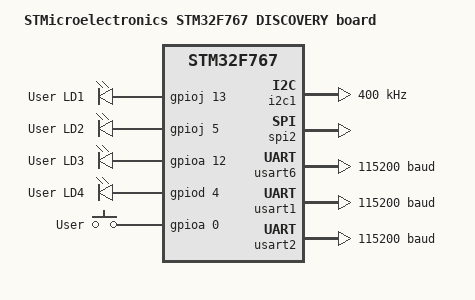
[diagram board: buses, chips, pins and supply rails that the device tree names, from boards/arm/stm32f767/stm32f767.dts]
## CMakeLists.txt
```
cmake_minimum_required(VERSION 3.13.1)

set(DTC_OVERLAY_FILE "${CMAKE_CURRENT_SOURCE_DIR}/dts/stm32f7.overlay.dts")

include_directories(include)

include($ENV{ZEPHYR_BASE}/cmake/app/boilerplate.cmake NO_POLICY_SCOPE)
project(base)

include(cmake/common.cmake)

if(CONFIG_CUSTOM_CONFIG)
	set(ZEPHYR_RUNNER_CONFIG_BOARD_DIR "${CMAKE_CURRENT_SOURCE_DIR}/board" CACHE STRING "Board definition directory" FORCE)
endif()

# set(CMAKE_C_FLAGS "${CMAKE_C_FLAGS} -DUSE_FULL_LL_DRIVER")
# add_definitions(-DUSE_FULL_LL_DRIVER)

include_directories(common/inc)

add_sources(
	common/src/helper.c
	common/src/init_log.c
	src/main.c
	src/led.c
	src/i2c_24c02.c
	src/oled.c
	src/bullseye.c
	# /home/maxu/programs/BullseyeCoverage/run/libcov-printf.c
	# src/test_section.c
	# src/test_uart.c
	# tests/kernel/mem_protect/userspace/*.c
	# src/encoder_run.c
	# src/test_esp32_uart.c
	# drivers/wifi/esp32_core.c
	# src/test_esp32_spi.c
	# src/test_pwm.c
	# src/device_list.c
	# src/test_spi.c
	# src/test_base.c
	# src/test_thread.c
	# src/test_thread_wrap.c
	# src/test_asm.c
)

add_glob_sources_if(CONFIG_TEST_BME280 tests/drivers/bme280/*.c)

add_glob_sources_if(
	CONFIG_TEST_GPIO
	tests/drivers/gpio/*.c
)

zephyr_linker_sources(SECTIONS link/custom-sections.ld)
```

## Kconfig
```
source "Kconfig.zephyr"

menu "Zephyr Practice"

config CUSTOM_CONFIG
	bool "use custom board config"
	default n

config SMALL_CAR
	bool "car config"
	select USE_STM32_LL_UTILS
	select USE_STM32_LL_GPIO
	select USE_STM32_LL_TIM
	select USE_STM32_LL_USART

if SMALL_CAR

config SMALL_CAR_ENCODER_NAME
	string "small car encoder name"
	default "small_car_encoder"

config SMALL_CAR_ENCODER_PSC
	int "small car encoder psc"
	default 0

config SMALL_CAR_ENCODER_ARR
	int "small car encoder arr"
	default 10799

endif # SMALL_CAR

config TEST_SPI_PI
	bool "spi slave device connect to raspi"
	default n
	
config TEST_BME280
	bool "spi slave device connect to raspi"
	default n
	
config TEST_GPIO
	bool "test gpio"
	default n

endmenu

config LOG_STRDUP_BUF_COUNT
	default 128
	
```

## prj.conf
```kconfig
# CONFIG_CORTEX_M_SYSTICK=y

CONFIG_UART_1=n
CONFIG_UART_2=y

# Shell
CONFIG_SHELL=y

# Log
CONFIG_LOG=y

# I2C 24C02
CONFIG_I2C=y
CONFIG_I2C_1=y
CONFIG_I2C_2=y
CONFIG_I2C_LOG_LEVEL_DBG=y



# CONFIG_LOG_PRINTK=y

# CONFIG_ZTEST=y


# # Uart
# CONFIG_UART_1=n
# CONFIG_UART_2=y
# CONFIG_UART_3=n
# CONFIG_UART_6=y

# # SPI
# CONFIG_SPI=y
# CONFIG_SPI_2=y
# CONFIG_SPI_LOG_LEVEL_DBG=y

# # I2C
# CONFIG_I2C=y
# CONFIG_I2C_1=y

# CONFIG_SENSOR=y
# CONFIG_BME280=y
# # CONFIG_SENSOR_LOG_LEVEL=4


# # System reset
# CONFIG_REBOOT=y


# # Debug
# CONFIG_DEBUG=y
# CONFIG_DEBUG_INFO=y
# CONFIG_OPENOCD_SUPPORT=y


# # Stm32 Library
# # CONFIG_HAS_STM32CUBE=y
# CONFIG_USE_STM32_LL_TIM=y


# # Monitor
# CONFIG_THREAD_NAME=y
# CONFIG_THREAD_MONITOR=y
# CONFIG_KERNEL_SHELL=y
# CONFIG_DEVICE_SHELL=y
# CONFIG_INIT_STACKS=y
# CONFIG_THREAD_STACK_INFO=y


# # Application Config
# CONFIG_APPLICATION_DEFINED_SYSCALL=y
# CONFIG_DYNAMIC_INTERRUPTS=y


# CONFIG_CUSTOM_CONFIG=n


# # Userspace
# # CONFIG_ARM_MPU=y
# # CONFIG_USERSPACE=y


# # Test Userspace
# # CONFIG_ZTEST=y
# # CONFIG_INIT_STACKS=y
# # CONFIG_APPLICATION_DEFINED_SYSCALL=y
# # CONFIG_THREAD_USERSPACE_LOCAL_DATA=y
# # CONFIG_TEST_USERSPACE=y


# # For PM test
# # CONFIG_SYS_POWER_MANAGEMENT=n
# # CONFIG_SYS_POWER_LOW_POWER_STATE=y
# # CONFIG_SYS_POWER_DEEP_SLEEP=y
# # CONFIG_DEVICE_POWER_MANAGEMENT=y
# # CONFIG_MAIN_STACK_SIZE=4096
# # CONFIG_IDLE_STACK_SIZE=1024


# # car config
# # CONFIG_SMALL_CAR=n


# # config esp32 wifi with uart_1
# # CONFIG_WIFI_ESP32=y
# # CONFIG_WIFI_ESP32_UART_DEVICE="UART_1"


# # CONFIG_MODEM=y
# # CONFIG_MODEM_RECEIVER=y
# # CONFIG_NETWORKING=y
# # CONFIG_NET_OFFLOAD=y
# # CONFIG_NET_SOCKETS=y
# # CONFIG_NET_LOG=y
# # CONFIG_NET_OFFLOAD_LOG_LEVEL_DBG=y
# # CONFIG_NET_SOCKETS_POSIX_NAMES=y
# # CONFIG_WIFI=y
# # CONFIG_WIFI_OFFLOAD=y
# # CONFIG_NET_IPV4=y
# # CONFIG_NET_IPV6=n
# # CONFIG_NET_IF_MAX_IPV4_COUNT=2

# # CONFIG_MODEM_WNCM14A2A=y

# CONFIG_TEST_SPI_PI=n
# # CONFIG_LOG_STRDUP_BUF_COUNT=128

# CONFIG_TEST_BME280=n
# # CONFIG_ZTEST=y

# CONFIG_TEST_GPIO=y
# CONFIG_USE_STM32_LL_GPIO=y
# CONFIG_ZTEST=y
```

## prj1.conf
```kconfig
CONFIG_TEST_BME280=n
# CONFIG_ZTEST=y

CONFIG_TEST_GPIO=y
# CONFIG_USE_STM32_LL_GPIO=y
# CONFIG_ZTEST=y
```

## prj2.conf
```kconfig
CONFIG_TEST_BME280=n
# CONFIG_ZTEST=y

CONFIG_TEST_GPIO=y
```

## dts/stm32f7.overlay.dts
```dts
/ {
	chosen {
		zephyr,console = &usart2;
		zephyr,shell-uart = &usart2;
		zephyr,sram = &sram0;
		zephyr,flash = &flash0;
	};
};

&usart2 {
	current-speed = <115200>;
	pinctrl-names = "default";
	status = "okay";
};

&usart6 {
	current-speed = <115200>;
	pinctrl-names = "default";
	status = "okay";
};

&i2c1 {
	status = "okay";
};

&i2c2 {
	status = "okay";
};
```

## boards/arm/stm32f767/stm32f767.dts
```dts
/*
 * Copyright (c) 2018 Yong Jin
 *
 * SPDX-License-Identifier: Apache-2.0
 */

/dts-v1/;
#include <st/f7/stm32f769Xi.dtsi>

/ {
	model = "STMicroelectronics STM32F767 DISCOVERY board";
	compatible = "st,stm32f767", "st,stm32f767";

	chosen {
		zephyr,console = &usart2;
		zephyr,shell-uart = &usart2;
		zephyr,sram = &sram0;
		zephyr,flash = &flash0;
		zephyr,flash = &flash0;
		zephyr,dtcm = &dtcm;
	};

	leds {
		compatible = "gpio-leds";
		red_led_1:led_1 {
			gpios = <&gpioj 13 GPIO_INT_ACTIVE_HIGH>;
			label = "User LD1";
		};
		green_led_2:led_2 {
			gpios = <&gpioj 5 GPIO_INT_ACTIVE_HIGH>;
			label = "User LD2";
		};
		green_led_3:led_3 {
			gpios = <&gpioa 12 GPIO_INT_ACTIVE_HIGH>;
			label = "User LD3";
		};
		red_led_4:led_4 {
			gpios = <&gpiod 4 GPIO_INT_ACTIVE_HIGH>;
			label = "User LD4";
		};
	};

	gpio_keys {
		compatible = "gpio-keys";
		user_button: button {
			label = "User";
			gpios = <&gpioa 0 GPIO_INT_ACTIVE_HIGH>;
		};
	};

	aliases {
		led0 = &red_led_1;
		led1 = &green_led_2;
		led2 = &green_led_3;
		led3 = &red_led_4;
		sw0 = &user_button;
	};
};

arduino_i2c: &i2c1 {};
arduino_spi: &spi2 {};
arduino_serial: &usart6 {};

&usart1 {
	current-speed = <115200>;
	pinctrl-names = "default";
	status = "okay";
};

&usart2 {
	current-speed = <115200>;
	pinctrl-names = "default";
	status = "okay";
};

&usart6 {
	current-speed = <115200>;
	pinctrl-names = "default";
	status = "okay";
};

&i2c1 {
	status = "okay";
	clock-frequency = <I2C_BITRATE_FAST>;
};

&spi2 {
	status = "okay";
};
```

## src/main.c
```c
#include <zephyr.h>
#include <device.h>
#include <drivers/sensor.h>

extern void test_section();

extern void test_sensor_bme280(void);
extern void test_spi_bme280(void);

extern void test_gpio(void);

void test() {

#if CONFIG_TEST_GPIO
	test_gpio();
#endif

#if CONFIG_TEST_SPI_PI
	test_spi();
#endif

#if CONFIG_TEST_BME280
	test_spi_bme280();
//	test_i2c_bme280();
	test_sensor_bme280();
#endif

}

#if CONFIG_ZTEST
void test_main(void)
#else
void main(void)
#endif
{
	printk("hello, the world\n");
	test();

	// test_section();
	/* test_userspace(); */
}
```

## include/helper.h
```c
#pragma once

#include <zephyr.h>
#include <logging/log.h>

#define _STR(a) #a
#define STR(a) _STR(a)

#define TestFunc(CallFunc, _gotoFlag) \
	do { \
		int ret = CallFunc; \
		if (ret == 0) { \
			LOG_INF("Executing %s successed\n", STR(CallFunc)); \
		} else { \
			LOG_ERR("Executing %s failed\n", STR(CallFunc)); \
			goto _gotoFlag; \
		} \
	} while (0)

/* the macro to know where the code run. */
#define FUNC_RUN_FLAG() LOG_INF("\n\t\t***************** Run here *****************\n")

/* the macro to be easy to code in test function's start and end */
#define FUNC_TEST() LOG_INF("\n\t\t***************** [%s test] *****************\n", __func__)
#define FUNC_TEST_START() LOG_INF("\n\t\t***************** {%s test start} *****************\n", __func__)
#define FUNC_TEST_END() LOG_INF("\n\t\t***************** {%s test end} *******************\n", __func__)
```

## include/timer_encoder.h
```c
#pragma once

#include <device.h>

#include <stm32f7xx_ll_tim.h>
#include <stm32f7xx_ll_gpio.h>

#define ENCODER_NAME_1	CONFIG_SMALL_CAR_ENCODER_NAME
#define PWM_PSC			CONFIG_SMALL_CAR_ENCODER_PSC
#define PWM_ARR			CONFIG_SMALL_CAR_ENCODER_ARR

#ifdef __cplusplus
extern "C" {
#endif


/* -----------------------define car wheels----------------------- */

enum wheel_type {
	WheelLeftFront = 0,
	WheelLeftBack,
	WheelRightFront,
	WheelRightBack
};

typedef enum wheel_type wheel_t;

/** -----------------------PWM Encoder driver API definition---------------------- */
typedef int (*encoder_start_t)();
typedef int (*encoder_stop_t)();
typedef uint32_t (*encoder_get_counter_t)();
typedef int (*encoder_setPwm_t)(wheel_t wheel, uint16_t pwm_a, uint16_t pwm_b);

struct encoder_api_t {
	encoder_start_t start;
	encoder_stop_t stop;
	encoder_get_counter_t getCounter;
	encoder_setPwm_t setPwm;
};


/* -----------------------define syscalls----------------------- */

__syscall int encoder_start(struct device *dev);

static inline int z_impl_encoder_start(struct device *dev)
{
	const struct encoder_api_t *api = (const struct encoder_api_t *)dev->driver_api;
	return api->start();
}

__syscall int encoder_stop(struct device *dev);

static inline int z_impl_encoder_stop(struct device *dev)
{
	const struct encoder_api_t *api = (const struct encoder_api_t *)dev->driver_api;
	return api->stop();
}

__syscall uint32_t encoder_getCounter(struct device *dev);

static inline uint32_t z_impl_encoder_getCounter(struct device *dev)
{
	const struct encoder_api_t *api = (const struct encoder_api_t *)dev->driver_api;
	return api->getCounter();
}

__syscall int encoder_setPwm(const struct device* dev, wheel_t wheel, uint16_t pwm_a, uint16_t pwm_b);

static inline int z_impl_encoder_setPwm(const struct device* dev, wheel_t wheel, uint16_t pwm_a, uint16_t pwm_b)
{
	const struct encoder_api_t *api = (const struct encoder_api_t *)dev->driver_api;
	return api->setPwm(wheel, pwm_a, pwm_b);
}

#ifdef __cplusplus
}
#endif

#include <syscalls/timer_encoder.h>
```

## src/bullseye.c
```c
#include <stdint.h>

__attribute__((__section__(".bcovbss"))) uint8_t bcovbss[3072];
__attribute__((__section__(".bcovcon"))) static uint8_t bcovcon[1024];
```

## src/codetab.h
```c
/***************************16*16的点阵字体取模方式：共阴——列行式——逆向输出*********/
unsigned char F16x16[] =
{
	0x00,0x02,0x02,0xFA,0xFA,0xAA,0xAA,0xFF,0xFF,0xAA,0xAA,0xFA,0xFA,0x02,0x02,0x00,
	0x00,0x42,0x72,0x72,0x3A,0x7A,0x42,0x4B,0x5B,0x52,0x62,0x62,0x13,0x77,0x66,0x00,/*"惠",0*/

	0x20,0x3C,0x1C,0xFF,0xFF,0xB0,0xB4,0x24,0x24,0x3F,0x3F,0xE4,0xE4,0x24,0x24,0x20,
	0x02,0x02,0x03,0xFF,0xFF,0x00,0x01,0x05,0x1D,0x59,0xC1,0xFF,0x7F,0x01,0x01,0x01,/*"特",1*/

	0x00,0x00,0x00,0xF8,0xF8,0x48,0x4C,0x4F,0x4B,0x4A,0x48,0x48,0xF8,0xF8,0x00,0x00,
	0x00,0x00,0x00,0xFF,0xFF,0x44,0x44,0x44,0x44,0x44,0x44,0x44,0xFF,0xFF,0x00,0x00,/*"自",2*/

	0x20,0x24,0x24,0xE4,0xE4,0x24,0x24,0x24,0x30,0x10,0xFF,0xFF,0x10,0xF0,0xF0,0x00,
	0x08,0x1C,0x1F,0x0B,0x0C,0x0D,0x4F,0x6E,0x34,0x1C,0x0F,0x23,0x60,0x7F,0x3F,0x00,/*"动",3*/

	0x80,0xC0,0x60,0xF8,0xFF,0x07,0x02,0x00,0xFF,0xFF,0xE0,0x70,0x3C,0x1C,0x08,0x00,
	0x00,0x00,0x00,0x7F,0x7F,0x04,0x06,0x03,0x3F,0x7F,0x40,0x40,0x40,0x78,0x78,0x00,/*"化",4*/
};

/************************************6*8的点阵************************************/
const unsigned char F6x8[][6] =
{
	0x00, 0x00, 0x00, 0x00, 0x00, 0x00,// sp
	0x00, 0x00, 0x00, 0x2f, 0x00, 0x00,// !
	0x00, 0x00, 0x07, 0x00, 0x07, 0x00,// "
	0x00, 0x14, 0x7f, 0x14, 0x7f, 0x14,// #
	0x00, 0x24, 0x2a, 0x7f, 0x2a, 0x12,// $
	0x00, 0x62, 0x64, 0x08, 0x13, 0x23,// %
	0x00, 0x36, 0x49, 0x55, 0x22, 0x50,// &
	0x00, 0x00, 0x05, 0x03, 0x00, 0x00,// '
	0x00, 0x00, 0x1c, 0x22, 0x41, 0x00,// (
	0x00, 0x00, 0x41, 0x22, 0x1c, 0x00,// )
	0x00, 0x14, 0x08, 0x3E, 0x08, 0x14,// *
	0x00, 0x08, 0x08, 0x3E, 0x08, 0x08,// +
	0x00, 0x00, 0x00, 0xA0, 0x60, 0x00,// ,
	0x00, 0x08, 0x08, 0x08, 0x08, 0x08,// -
	0x00, 0x00, 0x60, 0x60, 0x00, 0x00,// .
	0x00, 0x20, 0x10, 0x08, 0x04, 0x02,// /
	0x00, 0x3E, 0x51, 0x49, 0x45, 0x3E,// 0
	0x00, 0x00, 0x42, 0x7F, 0x40, 0x00,// 1
	0x00, 0x42, 0x61, 0x51, 0x49, 0x46,// 2
	0x00, 0x21, 0x41, 0x45, 0x4B, 0x31,// 3
	0x00, 0x18, 0x14, 0x12, 0x7F, 0x10,// 4
	0x00, 0x27, 0x45, 0x45, 0x45, 0x39,// 5
	0x00, 0x3C, 0x4A, 0x49, 0x49, 0x30,// 6
	0x00, 0x01, 0x71, 0x09, 0x05, 0x03,// 7
	0x00, 0x36, 0x49, 0x49, 0x49, 0x36,// 8
	0x00, 0x06, 0x49, 0x49, 0x29, 0x1E,// 9
	0x00, 0x00, 0x36, 0x36, 0x00, 0x00,// :
	0x00, 0x00, 0x56, 0x36, 0x00, 0x00,// ;
	0x00, 0x08, 0x14, 0x22, 0x41, 0x00,// <
	0x00, 0x14, 0x14, 0x14, 0x14, 0x14,// =
	0x00, 0x00, 0x41, 0x22, 0x14, 0x08,// >
	0x00, 0x02, 0x01, 0x51, 0x09, 0x06,// ?
	0x00, 0x32, 0x49, 0x59, 0x51, 0x3E,// @
	0x00, 0x7C, 0x12, 0x11, 0x12, 0x7C,// A
	0x00, 0x7F, 0x49, 0x49, 0x49, 0x36,// B
	0x00, 0x3E, 0x41, 0x41, 0x41, 0x22,// C
	0x00, 0x7F, 0x41, 0x41, 0x22, 0x1C,// D
	0x00, 0x7F, 0x49, 0x49, 0x49, 0x41,// E
	0x00, 0x7F, 0x09, 0x09, 0x09, 0x01,// F
	0x00, 0x3E, 0x41, 0x49, 0x49, 0x7A,// G
	0x00, 0x7F, 0x08, 0x08, 0x08, 0x7F,// H
	0x00, 0x00, 0x41, 0x7F, 0x41, 0x00,// I
	0x00, 0x20, 0x40, 0x41, 0x3F, 0x01,// J
	0x00, 0x7F, 0x08, 0x14, 0x22, 0x41,// K
	0x00, 0x7F, 0x40, 0x40, 0x40, 0x40,// L
	0x00, 0x7F, 0x02, 0x0C, 0x02, 0x7F,// M
	0x00, 0x7F, 0x04, 0x08, 0x10, 0x7F,// N
	0x00, 0x3E, 0x41, 0x41, 0x41, 0x3E,// O
	0x00, 0x7F, 0x09, 0x09, 0x09, 0x06,// P
	0x00, 0x3E, 0x41, 0x51, 0x21, 0x5E,// Q
	0x00, 0x7F, 0x09, 0x19, 0x29, 0x46,// R
	0x00, 0x46, 0x49, 0x49, 0x49, 0x31,// S
	0x00, 0x01, 0x01, 0x7F, 0x01, 0x01,// T
	0x00, 0x3F, 0x40, 0x40, 0x40, 0x3F,// U
	0x00, 0x1F, 0x20, 0x40, 0x20, 0x1F,// V
	0x00, 0x3F, 0x40, 0x38, 0x40, 0x3F,// W
	0x00, 0x63, 0x14, 0x08, 0x14, 0x63,// X
	0x00, 0x07, 0x08, 0x70, 0x08, 0x07,// Y
	0x00, 0x61, 0x51, 0x49, 0x45, 0x43,// Z
	0x00, 0x00, 0x7F, 0x41, 0x41, 0x00,// [
	0x00, 0x55, 0x2A, 0x55, 0x2A, 0x55,// 55
	0x00, 0x00, 0x41, 0x41, 0x7F, 0x00,// ]
	0x00, 0x04, 0x02, 0x01, 0x02, 0x04,// ^
	0x00, 0x40, 0x40, 0x40, 0x40, 0x40,// _
	0x00, 0x00, 0x01, 0x02, 0x04, 0x00,// '
	0x00, 0x20, 0x54, 0x54, 0x54, 0x78,// a
	0x00, 0x7F, 0x48, 0x44, 0x44, 0x38,// b
	0x00, 0x38, 0x44, 0x44, 0x44, 0x20,// c
	0x00, 0x38, 0x44, 0x44, 0x48, 0x7F,// d
	0x00, 0x38, 0x54, 0x54, 0x54, 0x18,// e
	0x00, 0x08, 0x7E, 0x09, 0x01, 0x02,// f
	0x00, 0x18, 0xA4, 0xA4, 0xA4, 0x7C,// g
	0x00, 0x7F, 0x08, 0x04, 0x04, 0x78,// h
	0x00, 0x00, 0x44, 0x7D, 0x40, 0x00,// i
	0x00, 0x40, 0x80, 0x84, 0x7D, 0x00,// j
	0x00, 0x7F, 0x10, 0x28, 0x44, 0x00,// k
	0x00, 0x00, 0x41, 0x7F, 0x40, 0x00,// l
	0x00, 0x7C, 0x04, 0x18, 0x04, 0x78,// m
	0x00, 0x7C, 0x08, 0x04, 0x04, 0x78,// n
	0x00, 0x38, 0x44, 0x44, 0x44, 0x38,// o
	0x00, 0xFC, 0x24, 0x24, 0x24, 0x18,// p
	0x00, 0x18, 0x24, 0x24, 0x18, 0xFC,// q
	0x00, 0x7C, 0x08, 0x04, 0x04, 0x08,// r
	0x00, 0x48, 0x54, 0x54, 0x54, 0x20,// s
	0x00, 0x04, 0x3F, 0x44, 0x40, 0x20,// t
	0x00, 0x3C, 0x40, 0x40, 0x20, 0x7C,// u
	0x00, 0x1C, 0x20, 0x40, 0x20, 0x1C,// v
	0x00, 0x3C, 0x40, 0x30, 0x40, 0x3C,// w
	0x00, 0x44, 0x28, 0x10, 0x28, 0x44,// x
	0x00, 0x1C, 0xA0, 0xA0, 0xA0, 0x7C,// y
	0x00, 0x44, 0x64, 0x54, 0x4C, 0x44,// z
	0x14, 0x14, 0x14, 0x14, 0x14, 0x14,// horiz lines
};
/****************************************8*16的点阵************************************/
const unsigned char F8X16[]=
{
  0x00,0x00,0x00,0x00,0x00,0x00,0x00,0x00,0x00,0x00,0x00,0x00,0x00,0x00,0x00,0x00,// 0
  0x00,0x00,0x00,0xF8,0x00,0x00,0x00,0x00,0x00,0x00,0x00,0x33,0x30,0x00,0x00,0x00,//! 1
  0x00,0x10,0x0C,0x06,0x10,0x0C,0x06,0x00,0x00,0x00,0x00,0x00,0x00,0x00,0x00,0x00,//" 2
  0x40,0xC0,0x78,0x40,0xC0,0x78,0x40,0x00,0x04,0x3F,0x04,0x04,0x3F,0x04,0x04,0x00,//# 3
  0x00,0x70,0x88,0xFC,0x08,0x30,0x00,0x00,0x00,0x18,0x20,0xFF,0x21,0x1E,0x00,0x00,//$ 4
  0xF0,0x08,0xF0,0x00,0xE0,0x18,0x00,0x00,0x00,0x21,0x1C,0x03,0x1E,0x21,0x1E,0x00,//% 5
  0x00,0xF0,0x08,0x88,0x70,0x00,0x00,0x00,0x1E,0x21,0x23,0x24,0x19,0x27,0x21,0x10,//& 6
  0x10,0x16,0x0E,0x00,0x00,0x00,0x00,0x00,0x00,0x00,0x00,0x00,0x00,0x00,0x00,0x00,//' 7
  0x00,0x00,0x00,0xE0,0x18,0x04,0x02,0x00,0x00,0x00,0x00,0x07,0x18,0x20,0x40,0x00,//( 8
  0x00,0x02,0x04,0x18,0xE0,0x00,0x00,0x00,0x00,0x40,0x20,0x18,0x07,0x00,0x00,0x00,//) 9
  0x40,0x40,0x80,0xF0,0x80,0x40,0x40,0x00,0x02,0x02,0x01,0x0F,0x01,0x02,0x02,0x00,//* 10
  0x00,0x00,0x00,0xF0,0x00,0x00,0x00,0x00,0x01,0x01,0x01,0x1F,0x01,0x01,0x01,0x00,//+ 11
  0x00,0x00,0x00,0x00,0x00,0x00,0x00,0x00,0x80,0xB0,0x70,0x00,0x00,0x00,0x00,0x00,//, 12
  0x00,0x00,0x00,0x00,0x00,0x00,0x00,0x00,0x00,0x01,0x01,0x01,0x01,0x01,0x01,0x01,//- 13
  0x00,0x00,0x00,0x00,0x00,0x00,0x00,0x00,0x00,0x30,0x30,0x00,0x00,0x00,0x00,0x00,//. 14
  0x00,0x00,0x00,0x00,0x80,0x60,0x18,0x04,0x00,0x60,0x18,0x06,0x01,0x00,0x00,0x00,/// 15
  0x00,0xE0,0x10,0x08,0x08,0x10,0xE0,0x00,0x00,0x0F,0x10,0x20,0x20,0x10,0x0F,0x00,//0 16
  0x00,0x10,0x10,0xF8,0x00,0x00,0x00,0x00,0x00,0x20,0x20,0x3F,0x20,0x20,0x00,0x00,//1 17
  0x00,0x70,0x08,0x08,0x08,0x88,0x70,0x00,0x00,0x30,0x28,0x24,0x22,0x21,0x30,0x00,//2 18
  0x00,0x30,0x08,0x88,0x88,0x48,0x30,0x00,0x00,0x18,0x20,0x20,0x20,0x11,0x0E,0x00,//3 19
  0x00,0x00,0xC0,0x20,0x10,0xF8,0x00,0x00,0x00,0x07,0x04,0x24,0x24,0x3F,0x24,0x00,//4 20
  0x00,0xF8,0x08,0x88,0x88,0x08,0x08,0x00,0x00,0x19,0x21,0x20,0x20,0x11,0x0E,0x00,//5 21
  0x00,0xE0,0x10,0x88,0x88,0x18,0x00,0x00,0x00,0x0F,0x11,0x20,0x20,0x11,0x0E,0x00,//6 22
  0x00,0x38,0x08,0x08,0xC8,0x38,0x08,0x00,0x00,0x00,0x00,0x3F,0x00,0x00,0x00,0x00,//7 23
  0x00,0x70,0x88,0x08,0x08,0x88,0x70,0x00,0x00,0x1C,0x22,0x21,0x21,0x22,0x1C,0x00,//8 24
  0x00,0xE0,0x10,0x08,0x08,0x10,0xE0,0x00,0x00,0x00,0x31,0x22,0x22,0x11,0x0F,0x00,//9 25
  0x00,0x00,0x00,0xC0,0xC0,0x00,0x00,0x00,0x00,0x00,0x00,0x30,0x30,0x00,0x00,0x00,//: 26
  0x00,0x00,0x00,0x80,0x00,0x00,0x00,0x00,0x00,0x00,0x80,0x60,0x00,0x00,0x00,0x00,//; 27
  0x00,0x00,0x80,0x40,0x20,0x10,0x08,0x00,0x00,0x01,0x02,0x04,0x08,0x10,0x20,0x00,//< 28
  0x40,0x40,0x40,0x40,0x40,0x40,0x40,0x00,0x04,0x04,0x04,0x04,0x04,0x04,0x04,0x00,//= 29
  0x00,0x08,0x10,0x20,0x40,0x80,0x00,0x00,0x00,0x20,0x10,0x08,0x04,0x02,0x01,0x00,//> 30
  0x00,0x70,0x48,0x08,0x08,0x08,0xF0,0x00,0x00,0x00,0x00,0x30,0x36,0x01,0x00,0x00,//? 31
  0xC0,0x30,0xC8,0x28,0xE8,0x10,0xE0,0x00,0x07,0x18,0x27,0x24,0x23,0x14,0x0B,0x00,//@ 32
  0x00,0x00,0xC0,0x38,0xE0,0x00,0x00,0x00,0x20,0x3C,0x23,0x02,0x02,0x27,0x38,0x20,//A 33
  0x08,0xF8,0x88,0x88,0x88,0x70,0x00,0x00,0x20,0x3F,0x20,0x20,0x20,0x11,0x0E,0x00,//B 34
  0xC0,0x30,0x08,0x08,0x08,0x08,0x38,0x00,0x07,0x18,0x20,0x20,0x20,0x10,0x08,0x00,//C 35
  0x08,0xF8,0x08,0x08,0x08,0x10,0xE0,0x00,0x20,0x3F,0x20,0x20,0x20,0x10,0x0F,0x00,//D 36
  0x08,0xF8,0x88,0x88,0xE8,0x08,0x10,0x00,0x20,0x3F,0x20,0x20,0x23,0x20,0x18,0x00,//E 37
  0x08,0xF8,0x88,0x88,0xE8,0x08,0x10,0x00,0x20,0x3F,0x20,0x00,0x03,0x00,0x00,0x00,//F 38
  0xC0,0x30,0x08,0x08,0x08,0x38,0x00,0x00,0x07,0x18,0x20,0x20,0x22,0x1E,0x02,0x00,//G 39
  0x08,0xF8,0x08,0x00,0x00,0x08,0xF8,0x08,0x20,0x3F,0x21,0x01,0x01,0x21,0x3F,0x20,//H 40
  0x00,0x08,0x08,0xF8,0x08,0x08,0x00,0x00,0x00,0x20,0x20,0x3F,0x20,0x20,0x00,0x00,//I 41
  0x00,0x00,0x08,0x08,0xF8,0x08,0x08,0x00,0xC0,0x80,0x80,0x80,0x7F,0x00,0x00,0x00,//J 42
  0x08,0xF8,0x88,0xC0,0x28,0x18,0x08,0x00,0x20,0x3F,0x20,0x01,0x26,0x38,0x20,0x00,//K 43
  0x08,0xF8,0x08,0x00,0x00,0x00,0x00,0x00,0x20,0x3F,0x20,0x20,0x20,0x20,0x30,0x00,//L 44
  0x08,0xF8,0xF8,0x00,0xF8,0xF8,0x08,0x00,0x20,0x3F,0x00,0x3F,0x00,0x3F,0x20,0x00,//M 45
  0x08,0xF8,0x30,0xC0,0x00,0x08,0xF8,0x08,0x20,0x3F,0x20,0x00,0x07,0x18,0x3F,0x00,//N 46
  0xE0,0x10,0x08,0x08,0x08,0x10,0xE0,0x00,0x0F,0x10,0x20,0x20,0x20,0x10,0x0F,0x00,//O 47
  0x08,0xF8,0x08,0x08,0x08,0x08,0xF0,0x00,0x20,0x3F,0x21,0x01,0x01,0x01,0x00,0x00,//P 48
  0xE0,0x10,0x08,0x08,0x08,0x10,0xE0,0x00,0x0F,0x18,0x24,0x24,0x38,0x50,0x4F,0x00,//Q 49
  0x08,0xF8,0x88,0x88,0x88,0x88,0x70,0x00,0x20,0x3F,0x20,0x00,0x03,0x0C,0x30,0x20,//R 50
  0x00,0x70,0x88,0x08,0x08,0x08,0x38,0x00,0x00,0x38,0x20,0x21,0x21,0x22,0x1C,0x00,//S 51
  0x18,0x08,0x08,0xF8,0x08,0x08,0x18,0x00,0x00,0x00,0x20,0x3F,0x20,0x00,0x00,0x00,//T 52
  0x08,0xF8,0x08,0x00,0x00,0x08,0xF8,0x08,0x00,0x1F,0x20,0x20,0x20,0x20,0x1F,0x00,//U 53
  0x08,0x78,0x88,0x00,0x00,0xC8,0x38,0x08,0x00,0x00,0x07,0x38,0x0E,0x01,0x00,0x00,//V 54
  0xF8,0x08,0x00,0xF8,0x00,0x08,0xF8,0x00,0x03,0x3C,0x07,0x00,0x07,0x3C,0x03,0x00,//W 55
  0x08,0x18,0x68,0x80,0x80,0x68,0x18,0x08,0x20,0x30,0x2C,0x03,0x03,0x2C,0x30,0x20,//X 56
  0x08,0x38,0xC8,0x00,0xC8,0x38,0x08,0x00,0x00,0x00,0x20,0x3F,0x20,0x00,0x00,0x00,//Y 57
  0x10,0x08,0x08,0x08,0xC8,0x38,0x08,0x00,0x20,0x38,0x26,0x21,0x20,0x20,0x18,0x00,//Z 58
  0x00,0x00,0x00,0xFE,0x02,0x02,0x02,0x00,0x00,0x00,0x00,0x7F,0x40,0x40,0x40,0x00,//[ 59
  0x00,0x0C,0x30,0xC0,0x00,0x00,0x00,0x00,0x00,0x00,0x00,0x01,0x06,0x38,0xC0,0x00,//\ 60
  0x00,0x02,0x02,0x02,0xFE,0x00,0x00,0x00,0x00,0x40,0x40,0x40,0x7F,0x00,0x00,0x00,//] 61
  0x00,0x00,0x04,0x02,0x02,0x02,0x04,0x00,0x00,0x00,0x00,0x00,0x00,0x00,0x00,0x00,//^ 62
  0x00,0x00,0x00,0x00,0x00,0x00,0x00,0x00,0x80,0x80,0x80,0x80,0x80,0x80,0x80,0x80,//_ 63
  0x00,0x02,0x02,0x04,0x00,0x00,0x00,0x00,0x00,0x00,0x00,0x00,0x00,0x00,0x00,0x00,//` 64
  0x00,0x00,0x80,0x80,0x80,0x80,0x00,0x00,0x00,0x19,0x24,0x22,0x22,0x22,0x3F,0x20,//a 65
  0x08,0xF8,0x00,0x80,0x80,0x00,0x00,0x00,0x00,0x3F,0x11,0x20,0x20,0x11,0x0E,0x00,//b 66
  0x00,0x00,0x00,0x80,0x80,0x80,0x00,0x00,0x00,0x0E,0x11,0x20,0x20,0x20,0x11,0x00,//c 67
  0x00,0x00,0x00,0x80,0x80,0x88,0xF8,0x00,0x00,0x0E,0x11,0x20,0x20,0x10,0x3F,0x20,//d 68
  0x00,0x00,0x80,0x80,0x80,0x80,0x00,0x00,0x00,0x1F,0x22,0x22,0x22,0x22,0x13,0x00,//e 69
  0x00,0x80,0x80,0xF0,0x88,0x88,0x88,0x18,0x00,0x20,0x20,0x3F,0x20,0x20,0x00,0x00,//f 70
  0x00,0x00,0x80,0x80,0x80,0x80,0x80,0x00,0x00,0x6B,0x94,0x94,0x94,0x93,0x60,0x00,//g 71
  0x08,0xF8,0x00,0x80,0x80,0x80,0x00,0x00,0x20,0x3F,0x21,0x00,0x00,0x20,0x3F,0x20,//h 72
  0x00,0x80,0x98,0x98,0x00,0x00,0x00,0x00,0x00,0x20,0x20,0x3F,0x20,0x20,0x00,0x00,//i 73
  0x00,0x00,0x00,0x80,0x98,0x98,0x00,0x00,0x00,0xC0,0x80,0x80,0x80,0x7F,0x00,0x00,//j 74
  0x08,0xF8,0x00,0x00,0x80,0x80,0x80,0x00,0x20,0x3F,0x24,0x02,0x2D,0x30,0x20,0x00,//k 75
  0x00,0x08,0x08,0xF8,0x00,0x00,0x00,0x00,0x00,0x20,0x20,0x3F,0x20,0x20,0x00,0x00,//l 76
  0x80,0x80,0x80,0x80,0x80,0x80,0x80,0x00,0x20,0x3F,0x20,0x00,0x3F,0x20,0x00,0x3F,//m 77
  0x80,0x80,0x00,0x80,0x80,0x80,0x00,0x00,0x20,0x3F,0x21,0x00,0x00,0x20,0x3F,0x20,//n 78
  0x00,0x00,0x80,0x80,0x80,0x80,0x00,0x00,0x00,0x1F,0x20,0x20,0x20,0x20,0x1F,0x00,//o 79
  0x80,0x80,0x00,0x80,0x80,0x00,0x00,0x00,0x80,0xFF,0xA1,0x20,0x20,0x11,0x0E,0x00,//p 80
  0x00,0x00,0x00,0x80,0x80,0x80,0x80,0x00,0x00,0x0E,0x11,0x20,0x20,0xA0,0xFF,0x80,//q 81
  0x80,0x80,0x80,0x00,0x80,0x80,0x80,0x00,0x20,0x20,0x3F,0x21,0x20,0x00,0x01,0x00,//r 82
  0x00,0x00,0x80,0x80,0x80,0x80,0x80,0x00,0x00,0x33,0x24,0x24,0x24,0x24,0x19,0x00,//s 83
  0x00,0x80,0x80,0xE0,0x80,0x80,0x00,0x00,0x00,0x00,0x00,0x1F,0x20,0x20,0x00,0x00,//t 84
  0x80,0x80,0x00,0x00,0x00,0x80,0x80,0x00,0x00,0x1F,0x20,0x20,0x20,0x10,0x3F,0x20,//u 85
  0x80,0x80,0x80,0x00,0x00,0x80,0x80,0x80,0x00,0x01,0x0E,0x30,0x08,0x06,0x01,0x00,//v 86
  0x80,0x80,0x00,0x80,0x00,0x80,0x80,0x80,0x0F,0x30,0x0C,0x03,0x0C,0x30,0x0F,0x00,//w 87
  0x00,0x80,0x80,0x00,0x80,0x80,0x80,0x00,0x00,0x20,0x31,0x2E,0x0E,0x31,0x20,0x00,//x 88
  0x80,0x80,0x80,0x00,0x00,0x80,0x80,0x80,0x80,0x81,0x8E,0x70,0x18,0x06,0x01,0x00,//y 89
  0x00,0x80,0x80,0x80,0x80,0x80,0x80,0x00,0x00,0x21,0x30,0x2C,0x22,0x21,0x30,0x00,//z 90
  0x00,0x00,0x00,0x00,0x80,0x7C,0x02,0x02,0x00,0x00,0x00,0x00,0x00,0x3F,0x40,0x40,//{ 91
  0x00,0x00,0x00,0x00,0xFF,0x00,0x00,0x00,0x00,0x00,0x00,0x00,0xFF,0x00,0x00,0x00,//| 92
  0x00,0x02,0x02,0x7C,0x80,0x00,0x00,0x00,0x00,0x40,0x40,0x3F,0x00,0x00,0x00,0x00,//} 93
  0x00,0x06,0x01,0x01,0x02,0x02,0x04,0x04,0x00,0x00,0x00,0x00,0x00,0x00,0x00,0x00,//~ 94
};

unsigned char BMP1[] =
{
	0x00,0x03,0x05,0x09,0x11,0xFF,0x11,0x89,0x05,0xC3,0x00,0xE0,0x00,0xF0,0x00,0xF8,
	0x00,0x00,0x00,0x00,0x00,0x00,0x00,0x44,0x28,0xFF,0x11,0xAA,0x44,0x00,0x00,0x00,
	0x00,0x00,0x00,0x00,0x00,0x00,0x00,0x00,0x00,0x00,0x00,0x00,0x00,0x00,0x00,0x00,
	0x00,0x00,0x00,0x00,0x00,0x00,0x00,0x00,0x00,0x00,0x00,0x00,0x00,0x00,0x00,0x00,
	0x00,0x00,0x00,0x00,0x00,0x00,0x00,0x00,0x00,0x00,0x00,0x00,0x00,0x00,0x00,0x00,
	0x00,0x00,0x00,0x00,0x00,0x00,0x00,0x00,0x00,0x00,0x83,0x01,0x38,0x44,0x82,0x92,
	0x92,0x74,0x01,0x83,0x00,0x00,0x00,0x00,0x00,0x00,0x00,0x7C,0x44,0xC7,0x01,0x7D,
	0x7D,0x7D,0x7D,0x01,0x7D,0x7D,0x7D,0x7D,0x01,0x7D,0x7D,0x7D,0x7D,0x01,0xFF,0x00,
	0x00,0x00,0x00,0x00,0x00,0x01,0x00,0x01,0x00,0x01,0x00,0x01,0x00,0x01,0x00,0x01,
	0x00,0x00,0x00,0x00,0x00,0x00,0x00,0x00,0x00,0x01,0x01,0x00,0x00,0x00,0x00,0x00,
	0x00,0x00,0x00,0x00,0x00,0x00,0x00,0x00,0x00,0x00,0x00,0x00,0x00,0x00,0x00,0x00,
	0x00,0x00,0x00,0x00,0x00,0x00,0x00,0x00,0x00,0x00,0x00,0x00,0x00,0x00,0x00,0x00,
	0x00,0x00,0x00,0x00,0x00,0x00,0x00,0x00,0x00,0x00,0x00,0x00,0x00,0x00,0x00,0x00,
	0x00,0x00,0x00,0x00,0x00,0x00,0x00,0x00,0x00,0x00,0x01,0x01,0x00,0x00,0x00,0x00,
	0x00,0x00,0x01,0x01,0x00,0x00,0x00,0x00,0x00,0x00,0x00,0x00,0x00,0x01,0x01,0x01,
	0x01,0x01,0x01,0x01,0x01,0x01,0x01,0x01,0x01,0x01,0x01,0x01,0x01,0x01,0x01,0x00,
	0x00,0x00,0x00,0x00,0x00,0x00,0x00,0x00,0x00,0x40,0x40,0x40,0x40,0x40,0x00,0x00,
	0x6D,0x6D,0x6D,0x6D,0x6D,0x00,0x00,0x60,0x60,0x60,0x60,0x60,0x00,0x00,0x40,0x40,
	0x40,0x40,0x40,0x00,0x00,0x00,0x00,0x00,0x00,0x00,0x00,0x00,0x00,0x00,0x00,0x00,
	0x00,0x00,0x00,0x00,0x00,0x00,0x00,0x00,0x00,0x00,0x00,0x00,0x00,0x00,0x00,0x00,
	0x00,0x00,0x00,0x00,0x00,0x00,0x00,0x00,0x00,0x00,0x00,0x00,0x00,0x00,0x00,0x00,
	0x00,0x00,0x00,0x00,0x00,0x00,0x00,0x00,0x00,0x00,0x00,0x00,0x00,0x00,0x00,0x00,
	0x00,0x00,0x00,0x00,0x00,0x00,0x00,0x00,0x00,0x00,0x00,0x00,0x00,0x00,0x00,0x00,
	0x00,0x00,0x00,0x00,0x00,0x00,0x00,0x00,0x00,0x00,0x00,0x00,0x00,0x00,0x00,0x00,
	0x00,0x00,0x00,0x00,0x00,0x00,0x00,0x00,0x00,0xDB,0xDB,0xDB,0xDB,0xDB,0x00,0x00,
	0xDB,0xDB,0xDB,0xDB,0xDB,0x00,0x00,0xDB,0xDB,0xDB,0xDB,0xDB,0x00,0x00,0xDB,0xDB,
	0xDB,0xDB,0xDB,0x00,0x00,0xDA,0xDA,0xDA,0xDA,0xDA,0x00,0x00,0xD8,0xD8,0xD8,0xD8,
	0xD8,0x00,0x00,0xC0,0xC0,0xC0,0xC0,0xC0,0x00,0x00,0xC0,0xC0,0xC0,0xC0,0xC0,0x00,
	0x00,0xC0,0xC0,0xC0,0xC0,0xC0,0x00,0x00,0xC0,0xC0,0xC0,0xC0,0xC0,0x00,0x00,0x80,
	0x80,0x80,0x80,0x80,0x00,0x00,0x00,0x00,0x00,0x00,0x00,0x00,0x00,0x00,0x00,0x00,
	0x00,0x00,0x00,0x00,0x00,0x00,0x00,0x00,0x00,0x00,0x00,0x00,0x00,0x00,0x00,0x00,
	0x00,0x00,0x00,0x00,0x00,0x00,0x00,0x00,0x00,0x00,0x00,0x00,0x00,0x00,0x00,0x00,
	0x00,0x00,0x00,0x00,0x00,0x00,0x00,0x00,0x00,0x06,0x06,0x06,0x06,0x06,0x00,0x00,
	0x06,0x06,0x06,0x06,0x06,0x00,0x00,0x06,0x06,0x06,0x06,0x06,0x00,0x00,0x06,0x06,
	0x06,0x06,0x06,0x00,0x00,0x06,0x06,0x06,0xE6,0x66,0x20,0x00,0x06,0x06,0x86,0x06,
	0x06,0x00,0x00,0x06,0x06,0x06,0x06,0x86,0x00,0x00,0x06,0x06,0x06,0x06,0x06,0x00,
	0x00,0x86,0x86,0x86,0x86,0x86,0x80,0x80,0x86,0x86,0x06,0x86,0x86,0xC0,0xC0,0x86,
	0x86,0x86,0x06,0x06,0xD0,0x30,0x76,0x06,0x06,0x06,0x06,0x00,0x00,0x06,0x06,0x06,
	0x06,0x06,0x00,0x00,0x06,0x06,0x06,0x06,0x06,0x00,0x00,0x06,0x06,0x06,0x06,0x06,
	0x00,0x00,0x06,0x06,0x06,0x06,0x06,0x00,0x00,0x00,0x00,0x00,0x00,0x00,0x00,0x00,
	0x00,0x00,0x00,0x00,0x00,0x00,0x00,0x00,0x00,0x00,0x00,0x00,0x00,0x00,0x00,0x00,
	0x00,0x00,0x00,0x00,0x00,0x00,0x00,0x00,0x00,0x00,0x00,0x00,0x00,0x00,0x00,0x00,
	0x00,0x00,0x00,0x00,0x00,0x00,0x00,0x00,0x00,0x00,0x60,0x1C,0x00,0xFE,0x00,0x01,
	0x02,0x00,0xC4,0x18,0x20,0x02,0x9E,0x63,0xB2,0x0E,0x00,0xFF,0x81,0x81,0xFF,0x00,
	0x00,0x80,0x40,0x30,0x0F,0x00,0x00,0x00,0x00,0xFF,0x00,0x23,0xEA,0xAA,0xBF,0xAA,
	0xEA,0x03,0x3F,0x00,0xFF,0x00,0x00,0x00,0x00,0x00,0x00,0x00,0x00,0x00,0x00,0x00,
	0x00,0x00,0x00,0x00,0x00,0x00,0x00,0x00,0x00,0x00,0x00,0x00,0x00,0x00,0x00,0x00,
	0x00,0x00,0x00,0x00,0x00,0x00,0x00,0x00,0x00,0x00,0x00,0x00,0x00,0x00,0x00,0x00,
	0x00,0x00,0x00,0x80,0x80,0x80,0x00,0x00,0x00,0x00,0x00,0x80,0x80,0x80,0x00,0x00,
	0x00,0x00,0x00,0x00,0x00,0x00,0x00,0x00,0x00,0x00,0x00,0x00,0x00,0x00,0x00,0x00,
	0x00,0x00,0x00,0x00,0x00,0x00,0x00,0x00,0x0E,0x0C,0x08,0x00,0x00,0x01,0x01,0x01,
	0x01,0x01,0x00,0x00,0x00,0x01,0x00,0x00,0x00,0x01,0x00,0x81,0x80,0x80,0x81,0x80,
	0x81,0x80,0x80,0x80,0x80,0x01,0x01,0x01,0x01,0x00,0x00,0x00,0x01,0x00,0x00,0x00,
	0x01,0x00,0x01,0x01,0x09,0x0C,0x0E,0x00,0x00,0x00,0x00,0x00,0x00,0x00,0x00,0x00,
	0x00,0x00,0x00,0x00,0x00,0x00,0x00,0x00,0xC0,0xC0,0xC0,0xC0,0xC0,0xC0,0xC0,0xC0,
	0xC0,0xC0,0xC0,0xC0,0xC0,0xC0,0xC0,0xC0,0xC0,0xC0,0xC0,0xC0,0xC0,0xC0,0xC0,0x00,
	0x00,0x1E,0x21,0x40,0x40,0x50,0x21,0x5E,0x00,0x1E,0x21,0x40,0x40,0x50,0x21,0x5E,
	0x00,0x00,0x00,0x00,0x00,0x00,0x00,0x00,0x00,0x00,0x00,0x00,0x00,0x00,0x00,0x00,
	0x00,0x00,0x00,0x00,0x00,0x00,0x00,0x00,0x00,0x00,0x00,0x00,0x00,0x00,0x00,0x00,
	0x00,0x00,0x00,0x00,0x00,0x00,0x00,0x00,0x00,0x00,0x00,0xFF,0xFF,0xC1,0xC1,0xFF,
	0xFF,0xC1,0xC1,0xFF,0xFF,0x00,0x00,0x00,0x00,0x00,0x00,0x00,0x00,0x00,0x00,0x00,
	0x00,0x00,0x00,0x00,0x00,0x00,0x00,0x00,0x00,0x00,0x00,0x00,0x00,0x00,0x00,0x00,
	0x00,0x00,0x00,0x00,0x00,0x00,0x00,0x00,0xFF,0xFF,0x80,0xFC,0xF3,0xEF,0xF3,0xFC,
	0x80,0xFF,0x80,0xEE,0xEE,0xEE,0xF5,0xFB,0xFF,0x9C,0xBE,0xB6,0xB6,0x88,0xFF,0x00,/*"D:\DreamSpark\OLED\MP3_UI.bmp",0*/
};
```

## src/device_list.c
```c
#include <zephyr.h>
#include <device.h>
#include <init.h>

extern struct device __device_init_start[];
extern struct device __device_init_end[];

static int get_device_list(struct device *unused)
{
	ARG_UNUSED(unused);

    int device_count;
    struct device *device_list;

    device_list = __device_init_start;
	device_count = __device_init_end - __device_init_start;

    printk("device count: %d\n", device_count);

    for (int i = 0; i < device_count; i++) {
        printk("device_list[%d].config->name: %s\n", i, device_list[i].config->name);
	}

    printk("\n");

    return 0;
}

SYS_INIT(get_device_list, APPLICATION, 90);
```

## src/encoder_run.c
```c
#include <zephyr.h>
#include <device.h>
#include <logging/log.h>
#include <timer_encoder.h>
#include <soc.h>

#define WHEEL_PWM_MAX	CONFIG_SMALL_CAR_ENCODER_ARR

LOG_MODULE_REGISTER(encoder_run, 4);

static void monitor_task(void *p1, void *p2, void *p3)
{
	struct device* encoder_dev = device_get_binding(CONFIG_SMALL_CAR_ENCODER_NAME);
	if (encoder_dev != NULL) {
		LOG_INF("Executing device_get_binding successed");
	} else {
		LOG_ERR("Executing device_get_binding failed");
		return;
	}
	volatile uint32_t counter = 0;
	while(1) {
		counter = encoder_getCounter(encoder_dev);
		LOG_INF("counter: %u", counter);
		k_sleep(200);
	}
}

static void encode_task(void *p1, void *p2, void *p3)
{
	struct device* encoder_dev = device_get_binding(CONFIG_SMALL_CAR_ENCODER_NAME);
	if (encoder_dev != NULL) {
		LOG_INF("Executing device_get_binding successed");
	} else {
		LOG_ERR("Executing device_get_binding failed");
		return;
	}

	int16_t  pwm_a = 0, pwm_b = CONFIG_SMALL_CAR_ENCODER_PSC;
	int8_t pwm_a_direction = 1, pwm_b_direction = -1;

	while(1) {

		LOG_INF("set pwm_a: %d, pwm_b: %d\n", pwm_a, pwm_b);

		pwm_a = 1000;
		pwm_b = WHEEL_PWM_MAX;

		encoder_setPwm(encoder_dev, 0, pwm_a, pwm_b);

		k_sleep(500);

		pwm_a = 10000;
		pwm_b = WHEEL_PWM_MAX;

		encoder_setPwm(encoder_dev, 0, pwm_a, pwm_b);

		k_sleep(500);

		pwm_a = WHEEL_PWM_MAX;
		pwm_b = 1000;

		encoder_setPwm(encoder_dev, 0, pwm_a, pwm_b);

		k_sleep(500);

		pwm_a = WHEEL_PWM_MAX;
		pwm_b = 10000;

		encoder_setPwm(encoder_dev, 0, pwm_a, pwm_b);

		k_sleep(500);

		pwm_a = WHEEL_PWM_MAX;
		pwm_b = WHEEL_PWM_MAX;

		encoder_setPwm(encoder_dev, 0, pwm_a, pwm_b);

		k_sleep(500);

		// pwm_a += 5000 * pwm_a_direction;

		// if (pwm_a > WHEEL_PWM_MAX) {
		// 	pwm_a_direction = -1;
		// 	pwm_a = WHEEL_PWM_MAX;
		// } else if (pwm_a < 0) {
		// 	pwm_a_direction = 1;
		// 	pwm_a = 0;
		// }

		// pwm_b += 100 * pwm_b_direction;

		// if (pwm_b > WHEEL_PWM_MAX) {
		// 	pwm_b_direction = -1;
		// 	pwm_b = WHEEL_PWM_MAX;
		// } else if (pwm_b < 0) {
		// 	pwm_b_direction = 1;
		// 	pwm_b = 0;
		// }

		// k_sleep(5000);
	}
}

K_THREAD_DEFINE(monitor_thread, 512, monitor_task, NULL, NULL, NULL, 0, 0, K_NO_WAIT);
K_THREAD_DEFINE(encode_thread, 512, encode_task, NULL, NULL, NULL, 0, 0, K_NO_WAIT);
```

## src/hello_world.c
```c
#include <zephyr.h>
#include <sys/printk.h>

int __attribute__ ((section(".test_int"))) test_int = 1;
char *test_str = "Hello, the world~";

void main(void)
{
    while(1)
    {
        printk("Hello, %s~", CONFIG_BOARD);
        printk("%s, %d\n", test_str, test_int);
        k_sleep(5000);
    }
}
```

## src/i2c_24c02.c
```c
#include <zephyr.h>
#include <init.h>
#include <drivers/i2c.h>
#include <helper.h>

// iic_scl, PH4
// iic_sda, PH5
#define I2C_DEV_NAME CONFIG_I2C_2_NAME
#define I2C_SLAVE_ADDR 0x50

static struct device *i2c_dev;

static u32_t i2c_cfg = I2C_SPEED_SET(I2C_SPEED_STANDARD) | I2C_MODE_MASTER;


void test_zephyr_i2c_write_read()
{
	const char *devname = "I2C_2";
	struct device *i2c_dev = device_get_binding(devname);
	if (i2c_dev == NULL) {
		printk("can't get ic2_dev['%s']\n", devname);
		return;
	}

	u32_t i2c_cfg = I2C_SPEED_SET(I2C_SPEED_FAST) | I2C_MODE_MASTER;

	if (i2c_configure(i2c_dev, i2c_cfg)) {
		printk("I2C config Fail.\n");
		return;
	}

    k_sleep(100);

	uint8_t buf[5] = {0, 0, 1, 2, 3};

	if (i2c_write(i2c_dev, buf, 5, 0x50)) {
		printk("i2c_write Fail.\n");
		return;
	}
    k_sleep(100);

	printk("write data:\n");
	hexdump(buf+1, 4);

	if (i2c_write(i2c_dev, buf, 1, 0x50)) {
		printk("i2c_write Fail.\n");
		return;
	}

    k_sleep(100);

	if (i2c_read(i2c_dev, buf + 1, 4, 0x50)) {
		printk("i2c_read Fail.\n");
		return;
	}

    k_sleep(100);

	printk("read data:\n");
	hexdump(buf+1, 4);


    buf[1] = 2;
	buf[2] = 3;
	buf[3] = 4;
    buf[4] = 5;

	if (i2c_write(i2c_dev, buf, 5, 0x50)) {
		printk("i2c_write Fail.\n");
		return;
	}
	printk("write data:\n");
	hexdump(buf+1, 4);

    k_sleep(100);

	if (i2c_write(i2c_dev, buf, 1, 0x50)) {
		printk("i2c_write Fail.\n");
		return;
	}

    k_sleep(100);

	if (i2c_read(i2c_dev, buf + 1, 4, 0x50)) {
		printk("i2c_read Fail.\n");
		return;
	}

	printk("read data:\n");
	hexdump(buf+1, 4);
}

void e24c02_service(struct device *unused)
{
    ARG_UNUSED(unused);
    test_zephyr_i2c_write_read();
}

SYS_INIT(e24c02_service, APPLICATION, 90);
```

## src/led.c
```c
#include <zephyr.h>
#include <device.h>
#include <init.h>
#include <drivers/gpio.h>

// LED0, PB1

#define LED_DEVICE_NAME     DT_GPIO_STM32_GPIOB_LABEL
#define LED_PIN             1

static struct device *led_dev;

void led_shine_function(struct k_timer *timer_id)
{
    static uint8_t status = 0;
    gpio_pin_write(led_dev, LED_PIN, status);
    status = !status;
    printk("system uptime: %dms\n", k_uptime_get_32());
}

K_TIMER_DEFINE(led_shine_timer, led_shine_function, NULL);


void led_service(struct device *unused)
{
    ARG_UNUSED(unused);

    led_dev = device_get_binding(LED_DEVICE_NAME);
    if (led_dev == NULL) {
        printk("can't get gpio device[%s]\n", LED_DEVICE_NAME);
        return;
    }

    gpio_pin_disable_callback(led_dev, LED_PIN);
    gpio_pin_configure(led_dev, LED_PIN, GPIO_DIR_OUT);

    k_timer_start(&led_shine_timer, K_SECONDS(1), 0);
}

SYS_INIT(led_service, APPLICATION, 90);
```

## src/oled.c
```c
#include <zephyr.h>
#include <init.h>
#include <drivers/i2c.h>
#include <helper.h>
#include "codetab.h"

/*
* void I2C_Configuration(void) -- 配置CPU的硬件I2C
* void I2C_WriteByte(uint8_t addr,uint8_t data) -- 向寄存器地址写一个byte的数据
* void WriteCmd(unsigned char I2C_Command) -- 写命令
* void WriteDat(unsigned char I2C_Data) -- 写数据
* void OLED_Init(void) -- OLED屏初始化
* void OLED_SetPos(unsigned char x, unsigned char y) -- 设置起始点坐标
* void OLED_Fill(unsigned char fill_Data) -- 全屏填充
* void OLED_CLS(void) -- 清屏
* void OLED_ON(void) -- 唤醒
* void OLED_OFF(void) -- 睡眠
* void OLED_ShowStr(unsigned char x, unsigned char y, unsigned char ch[], unsigned char TextSize) -- 显示字符串(字体大小有6*8和8*16两种)
* void OLED_ShowCN(unsigned char x, unsigned char y, unsigned char N) -- 显示中文(中文需要先取模，然后放到codetab.h中)
* void OLED_DrawBMP(unsigned char x0,unsigned char y0,unsigned char x1,unsigned char y1,unsigned char BMP[]) -- BMP图片
*
*/

// iic_scl, PB8
// iic_sda, PB9
#define I2C_DEV_NAME CONFIG_I2C_1_NAME

#define OLED_ADDRESS	0x78 //通过调整0R电阻,屏可以0x78和0x7A两个地址 -- 默认0x78

static struct device *i2c_dev;

static u32_t i2c_cfg = I2C_SPEED_SET(I2C_SPEED_STANDARD) | I2C_MODE_MASTER;


int32_t I2C_Configuration(void)
{
	i2c_dev = device_get_binding(I2C_DEV_NAME);
	if (i2c_dev == NULL) {
		printk("can't get ic2_dev['%s']\n", I2C_DEV_NAME);
		return -1;
	}

	u32_t i2c_cfg = I2C_SPEED_SET(I2C_SPEED_FAST) | I2C_MODE_MASTER;

	if (i2c_configure(i2c_dev, i2c_cfg)) {
		printk("I2C config Fail.\n");
		return -2;
	}
}

void I2C_WriteByte(uint8_t addr,uint8_t data)
{
    i2c_reg_write_byte(i2c_dev, OLED_ADDRESS, addr, data);
}


void WriteCmd(unsigned char I2C_Command)//写命令
{
	I2C_WriteByte(0x00, I2C_Command);
}

void WriteDat(unsigned char I2C_Data)//写数据
{
	I2C_WriteByte(0x40, I2C_Data);
}

void OLED_Init(void)
{
	k_sleep(100); //这里的延时很重要

	WriteCmd(0xAE); //display off
	WriteCmd(0x20);	//Set Memory Addressing Mode
	WriteCmd(0x10);	//00,Horizontal Addressing Mode;01,Vertical Addressing Mode;10,Page Addressing Mode (RESET);11,Invalid
	WriteCmd(0xb0);	//Set Page Start Address for Page Addressing Mode,0-7
	WriteCmd(0xc8);	//Set COM Output Scan Direction
	WriteCmd(0x00); //---set low column address
	WriteCmd(0x10); //---set high column address
	WriteCmd(0x40); //--set start line address
	WriteCmd(0x81); //--set contrast control register
	WriteCmd(0xff); //亮度调节 0x00~0xff
	WriteCmd(0xa1); //--set segment re-map 0 to 127
	WriteCmd(0xa6); //--set normal display
	WriteCmd(0xa8); //--set multiplex ratio(1 to 64)
	WriteCmd(0x3F); //
	WriteCmd(0xa4); //0xa4,Output follows RAM content;0xa5,Output ignores RAM content
	WriteCmd(0xd3); //-set display offset
	WriteCmd(0x00); //-not offset
	WriteCmd(0xd5); //--set display clock divide ratio/oscillator frequency
	WriteCmd(0xf0); //--set divide ratio
	WriteCmd(0xd9); //--set pre-charge period
	WriteCmd(0x22); //
	WriteCmd(0xda); //--set com pins hardware configuration
	WriteCmd(0x12);
	WriteCmd(0xdb); //--set vcomh
	WriteCmd(0x20); //0x20,0.77xVcc
	WriteCmd(0x8d); //--set DC-DC enable
	WriteCmd(0x14); //
	WriteCmd(0xaf); //--turn on oled panel
}

void OLED_SetPos(unsigned char x, unsigned char y) //设置起始点坐标
{
	WriteCmd(0xb0+y);
	WriteCmd(((x&0xf0)>>4)|0x10);
	WriteCmd((x&0x0f)|0x01);
}

void OLED_Fill(unsigned char fill_Data)//全屏填充
{
	unsigned char m,n;
	for(m=0;m<8;m++)
	{
		WriteCmd(0xb0+m);		//page0-page1
		WriteCmd(0x00);		//low column start address
		WriteCmd(0x10);		//high column start address
		for(n=0;n<128;n++)
			{
				WriteDat(fill_Data);
			}
	}
}

void OLED_CLS(void)//清屏
{
	OLED_Fill(0x00);
}

//--------------------------------------------------------------
// Prototype      : void OLED_ON(void)
// Calls          :
// Parameters     : none
// Description    : 将OLED从休眠中唤醒
//--------------------------------------------------------------
void OLED_ON(void)
{
	WriteCmd(0X8D);  //设置电荷泵
	WriteCmd(0X14);  //开启电荷泵
	WriteCmd(0XAF);  //OLED唤醒
}

//--------------------------------------------------------------
// Prototype      : void OLED_OFF(void)
// Calls          :
// Parameters     : none
// Description    : 让OLED休眠 -- 休眠模式下,OLED功耗不到10uA
//--------------------------------------------------------------
void OLED_OFF(void)
{
	WriteCmd(0X8D);  //设置电荷泵
	WriteCmd(0X10);  //关闭电荷泵
	WriteCmd(0XAE);  //OLED休眠
}

//--------------------------------------------------------------
// Prototype      : void OLED_ShowChar(unsigned char x, unsigned char y, unsigned char ch[], unsigned char TextSize)
// Calls          :
// Parameters     : x,y -- 起始点坐标(x:0~127, y:0~7); ch[] -- 要显示的字符串; TextSize -- 字符大小(1:6*8 ; 2:8*16)
// Description    : 显示codetab.h中的ASCII字符,有6*8和8*16可选择
//--------------------------------------------------------------
void OLED_ShowStr(unsigned char x, unsigned char y, unsigned char ch[], unsigned char TextSize)
{
	unsigned char c = 0,i = 0,j = 0;
	switch(TextSize)
	{
		case 1:
		{
			while(ch[j] != '\0')
			{
				c = ch[j] - 32;
				if(x > 126)
				{
					x = 0;
					y++;
				}
				OLED_SetPos(x,y);
				for(i=0;i<6;i++)
					WriteDat(F6x8[c][i]);
				x += 6;
				j++;
			}
		}break;
		case 2:
		{
			while(ch[j] != '\0')
			{
				c = ch[j] - 32;
				if(x > 120)
				{
					x = 0;
					y++;
				}
				OLED_SetPos(x,y);
				for(i=0;i<8;i++)
					WriteDat(F8X16[c*16+i]);
				OLED_SetPos(x,y+1);
				for(i=0;i<8;i++)
					WriteDat(F8X16[c*16+i+8]);
				x += 8;
				j++;
			}
		}break;
	}
}

//--------------------------------------------------------------
// Prototype      : void OLED_ShowCN(unsigned char x, unsigned char y, unsigned char N)
// Calls          :
// Parameters     : x,y -- 起始点坐标(x:0~127, y:0~7); N:汉字在codetab.h中的索引
// Description    : 显示codetab.h中的汉字,16*16点阵
//--------------------------------------------------------------
void OLED_ShowCN(unsigned char x, unsigned char y, unsigned char N)
{
	unsigned char wm=0;
	unsigned int  adder=32*N;
	OLED_SetPos(x , y);
	for(wm = 0;wm < 16;wm++)
	{
		WriteDat(F16x16[adder]);
		adder += 1;
	}
	OLED_SetPos(x,y + 1);
	for(wm = 0;wm < 16;wm++)
	{
		WriteDat(F16x16[adder]);
		adder += 1;
	}
}

//--------------------------------------------------------------
// Prototype      : void OLED_DrawBMP(unsigned char x0,unsigned char y0,unsigned char x1,unsigned char y1,unsigned char BMP[]);
// Calls          :
// Parameters     : x0,y0 -- 起始点坐标(x0:0~127, y0:0~7); x1,y1 -- 起点对角线(结束点)的坐标(x1:1~128,y1:1~8)
// Description    : 显示BMP位图
//--------------------------------------------------------------
void OLED_DrawBMP(unsigned char x0,unsigned char y0,unsigned char x1,unsigned char y1,unsigned char BMP[])
{
	unsigned int j=0;
	unsigned char x,y;

  if(y1%8==0)
		y = y1/8;
  else
		y = y1/8 + 1;
	for(y=y0;y<y1;y++)
	{
		OLED_SetPos(x0,y);
    for(x=x0;x<x1;x++)
		{
			WriteDat(BMP[j++]);
		}
	}
}

void oled_thread_entry(struct device *unused)
{
    ARG_UNUSED(unused);

    int ret = 0;

    ret = I2C_Configuration();

    if (ret) {
        printk("run I2C_Configuration failed, ret: %d\n", ret);
        return;
    }

    OLED_Init();

    while(1)
	{
		OLED_Fill(0xFF);//全屏点亮
		k_sleep(2000);
		OLED_Fill(0x00);//全屏灭
		k_sleep(2000);
		for(int i=0;i<5;i++)
		{
			OLED_ShowCN(22+i*16,0,i);//测试显示中文
		}
		k_sleep(2000);
		OLED_ShowStr(0,3,"HelTec Automation",1);//测试6*8字符
		OLED_ShowStr(0,4,"Hello Tech",2);				//测试8*16字符
		k_sleep(2000);
		OLED_CLS();//清屏
		OLED_OFF();//测试OLED休眠
		k_sleep(2000);
		OLED_ON();//测试OLED休眠后唤醒
		OLED_DrawBMP(0,0,128,8,(unsigned char *)BMP1);//测试BMP位图显示
		k_sleep(2000);
	}
}

K_THREAD_DEFINE(oled_thread, 1024, oled_thread_entry, NULL, NULL, NULL, 1, 0, K_NO_WAIT);
```

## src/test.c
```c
#include<stdio.h>

//自定义printN函数
void printN(int N)
{
	int i;
	for (i = 1; i <= N; i++) {
		printf("%d\n", i);
	}
	return;
}

//声明printN函数
void printN(int N);

main(void)
{
	int N;
	printf("请输入N：");
	scanf("%d", &N); //传入参数
	printN(N); //调用printN函数
}
```

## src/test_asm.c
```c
/*
 * Copyright (c) 2016 Intel Corporation.
 *
 * SPDX-License-Identifier: Apache-2.0
 */

#include <zephyr.h>
#include <logging/log.h>
#include <soc.h>

LOG_MODULE_REGISTER(asm);

void t1(void *p1, void *p2, void *p3)
{
	// Each asm statement is devided by colons into up to four parts:
	// 1. The assembler instructions, defined as a single string constant:
	// 2. A list of output operands, separated by commas. Our example uses just one:
	// 3. A comma separated list of input operands. Again our example uses one operand
	// 4. Clobbered registers, left empty in our example.

	/* example 1 */

	int result = 0, value = 0x10;
	LOG_INF("init: value: %d, result: %d, opt: result=(value>>2)", value, result);
	__asm__("mov %0, %1, ror #2" : "=r" (result) : "r" (value));

	// ldr r3, [sp, #0]
	// mov r3, r3, ror #1
	// str r3, [sp, #4]

	LOG_INF("after opt: value: %d, result: %d", value, result);

	// In the code section, operands are referenced by a percent sign followed by a single digit.
	// %0 refers to the first %1 to the second operand and so forth. From the above example:%0 refers to "=r" (result) and
	// %1 refers to "r" (value)


	/* example 2 */

	int a = 10, b = 20, c = 0;

	LOG_INF("init: %d, b: %d, c: %d", a, b, c);

	__asm__(
		"adds %0, %1\t"
		: "=r"(c)
		: "r"(a), "r"(b)
	);

	LOG_INF("after opts: %d, b: %d, c: %d", a, b, c);



	/* example 3 */

	int DataIn = 2, DataOut = 0;

	LOG_INF("init: DataIn: %d, DataOut: %d", DataIn, DataOut);

	__asm__(
		"mov r0, %0\n"
		"mov r3, #5\n"
		"udiv r0, r0, r3\n"
		"mov %1, r0\n"
		: "=r"(DataOut)
		: "r"(DataIn)
		: "cc", "r3"
	);

	/* 在这个代码中,输输入参数是一个C变量,名为DataIn(%0代表第一个参数),该代码把
结果返回到另外一个C变量DataOut中(%1表示第2个参数)。内联汇编的代码还手工修改了
寄存器r3,并且修改了条件标志cc,因此它们被列在被破坏的(clobbered)寄存器列表中。   */

	LOG_INF("after opts: DataIn: %d, DataOut: %d", DataIn, DataOut);
}

K_THREAD_DEFINE(asm_thread, 512, t1, NULL, NULL, NULL, 0, K_ESSENTIAL, K_NO_WAIT);
```
